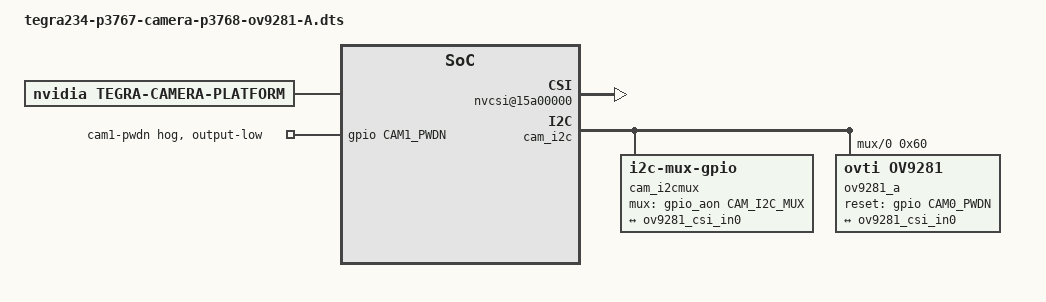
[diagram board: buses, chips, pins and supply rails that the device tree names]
// SPDX-License-Identifier: GPL-2.0
/*
 * CAM0 overlay for OmniVision OV9281 on Jetson Orin Nano devkit
 * (p3767-0000 module + p3768 carrier). Same shape as NVIDIA's
 * tegra234-p3767-camera-p3768-imx219-A.dtbo: one 2-lane sensor on the
 * "A" connector, cam_i2cmux channel 0, tegra-camera-platform module0.
 *
 * On that imx219-A binding the CAM0 socket is CSI port-index 1
 * (tegra_sinterface "serial_b"), not CSI serial_a. serial_a / port-index 0
 * is not wired to a camera connector on Orin Nano. Change BOTH macros
 * together if a decompile of the stock imx219-A.dtbo on this board shows
 * a different pair (some notes call silk-screen CAM0 "CSI-C": serial_c / 2).
 *
 * Argus and the ISP do not process a mono sensor. This prebuilt
 * tegra-camera.ko rejects pixel_phase "y". Every mode is declared as
 * bayer RAW10 with pixel_phase "rggb", which sensor_common turns into
 * bayer_rggb10 / V4L2_PIX_FMT_SRGGB10 / MEDIA_BUS_FMT_SRGGB10_1X10.
 * The CSI payload is still mono. Capture with v4l2-ctl pixelformat RG10
 * and treat the samples as luminance. Do not use nvarguscamerasrc.
 * sensor_common has no bayer_*8 entry, so an 8-bit mode is not listed.
 *
 * discontinuous_clk is "no". The driver leaves 0x4800 bit5 clear and
 * programs a 1456-pixel line (1280 + 176). That is the mainline
 * continuous-clock geometry. Gating the clock on that line makes VI
 * discard every frame with err_data 0x20000 (CAPTURE_CHANNEL_ERROR_FORCE_FE).
 */

/dts-v1/;
/plugin/;

#include <dt-bindings/tegra234-p3767-0000-common.h>

#define OV9281_CAM_PORT_INDEX 1
#define OV9281_CAM_SINTERFACE "serial_b"

/ {
	overlay-name = "Camera OV9281-A";
	jetson-header-name = "Jetson 22pin CSI Connector";
	compatible = JETSON_COMPATIBLE_P3768;

	fragment@0 {
		target-path = "/";
		__overlay__ {
			tegra-capture-vi {
				status = "okay";
				num-channels = <1>;
				ports {
					#address-cells = <1>;
					#size-cells = <0>;
					port@0 {
						reg = <0>;
						ov9281_vi_in0: endpoint {
							port-index = <OV9281_CAM_PORT_INDEX>;
							bus-width = <2>;
							remote-endpoint = <&ov9281_csi_out0>;
						};
					};
				};
			};

			tegra-camera-platform {
				compatible = "nvidia, tegra-camera-platform";
				num_csi_lanes = <2>;
				max_lane_speed = <1500000>;
				min_bits_per_pixel = <8>;
				vi_peak_byte_per_pixel = <2>;
				vi_bw_margin_pct = <25>;
				max_pixel_rate = <240000000>;
				isp_peak_byte_per_pixel = <2>;
				isp_bw_margin_pct = <25>;
				modules {
					module0 {
						badge = "ov9281_cam0";
						position = "front";
						orientation = "0";
						drivernode0 {
							pcl_id = "v4l2_sensor";
							devname = "ov9281 9-0060";
							proc-device-tree = "/proc/device-tree/bus@0/cam_i2cmux/i2c@0/ov9281_a@60";
							sysfs-device-tree = "/sys/firmware/devicetree/base/bus@0/cam_i2cmux/i2c@0/ov9281_a@60";
						};
					};
				};
			};

			bus@0 {
				host1x@13e00000 {
					nvcsi@15a00000 {
						status = "okay";
						num-channels = <1>;
						#address-cells = <1>;
						#size-cells = <0>;
						channel@0 {
							reg = <0>;
							ports {
								#address-cells = <1>;
								#size-cells = <0>;
								port@0 {
									reg = <0>;
									ov9281_csi_in0: endpoint@0 {
										port-index = <OV9281_CAM_PORT_INDEX>;
										bus-width = <2>;
										remote-endpoint = <&ov9281_out0>;
									};
								};
								port@1 {
									reg = <1>;
									ov9281_csi_out0: endpoint@1 {
										remote-endpoint = <&ov9281_vi_in0>;
									};
								};
							};
						};
					};
				};

				cam_i2cmux {
					status = "okay";
					compatible = "i2c-mux-gpio";
					#address-cells = <1>;
					#size-cells = <0>;
					mux-gpios = <&gpio_aon CAM_I2C_MUX GPIO_ACTIVE_HIGH>;
					i2c-parent = <&cam_i2c>;
					i2c@0 {
						status = "okay";
						reg = <0>;
						#address-cells = <1>;
						#size-cells = <0>;
						ov9281_a@60 {
							status = "okay";
							compatible = "ovti,ov9281";
							reg = <0x60>;
							reset-gpios = <&gpio CAM0_PWDN GPIO_ACTIVE_HIGH>;
							/*
							 * Same clock consumer names as the other
							 * tegra234 camera overlays (bpmp EXTPERIPH1,
							 * clock-names extperiph1, mclk extperiph1).
							 * mclk without clocks/clock-names makes
							 * devm_clk_get("extperiph1") return -ENOENT.
							 */
							clocks = <&bpmp TEGRA234_CLK_EXTPERIPH1>,
								<&bpmp TEGRA234_CLK_EXTPERIPH1>;
							clock-names = "extperiph1", "pllp_grtba";
							mclk = "extperiph1";
							devnode = "video0";
							physical_w = "3.840";
							physical_h = "2.400";
							sensor_model = "ov9281";
							use_sensor_mode_id = "true";

							/* mode0: 1280x800 RAW10 @ 60 fps */
							mode0 {
								mclk_khz = "24000";
								num_lanes = "2";
								tegra_sinterface = OV9281_CAM_SINTERFACE;
								phy_mode = "DPHY";
								discontinuous_clk = "no";
								dpcm_enable = "false";
								cil_settletime = "0";
								lane_polarity = "6";
								active_w = "1280";
								active_h = "800";
								mode_type = "bayer";
								pixel_phase = "rggb";
								csi_pixel_bit_depth = "10";
								readout_orientation = "0";
								line_length = "1456";
								inherent_gain = "1";
								mclk_multiplier = "4";
								pix_clk_hz = "160000000";
								gain_factor = "16";
								framerate_factor = "1000000";
								exposure_factor = "1000000";
								min_gain_val = "16";
								max_gain_val = "255";
								step_gain_val = "1";
								default_gain = "16";
								min_hdr_ratio = "1";
								max_hdr_ratio = "1";
								min_framerate = "10000000";
								max_framerate = "120000000";
								step_framerate = "1";
								default_framerate = "60000000";
								min_exp_time = "10";
								max_exp_time = "100000";
								step_exp_time = "1";
								default_exp_time = "5000";
								embedded_metadata_height = "0";
							};

							/* mode1: 1280x720 RAW10 @ 60 fps */
							mode1 {
								mclk_khz = "24000";
								num_lanes = "2";
								tegra_sinterface = OV9281_CAM_SINTERFACE;
								phy_mode = "DPHY";
								discontinuous_clk = "no";
								dpcm_enable = "false";
								cil_settletime = "0";
								lane_polarity = "6";
								active_w = "1280";
								active_h = "720";
								mode_type = "bayer";
								pixel_phase = "rggb";
								csi_pixel_bit_depth = "10";
								readout_orientation = "0";
								line_length = "1456";
								inherent_gain = "1";
								mclk_multiplier = "4";
								pix_clk_hz = "160000000";
								gain_factor = "16";
								framerate_factor = "1000000";
								exposure_factor = "1000000";
								min_gain_val = "16";
								max_gain_val = "255";
								step_gain_val = "1";
								default_gain = "16";
								min_hdr_ratio = "1";
								max_hdr_ratio = "1";
								min_framerate = "10000000";
								max_framerate = "120000000";
								step_framerate = "1";
								default_framerate = "60000000";
								min_exp_time = "10";
								max_exp_time = "100000";
								step_exp_time = "1";
								default_exp_time = "5000";
								embedded_metadata_height = "0";
							};

							ports {
								#address-cells = <1>;
								#size-cells = <0>;
								port@0 {
									reg = <0>;
									ov9281_out0: endpoint {
										port-index = <OV9281_CAM_PORT_INDEX>;
										bus-width = <2>;
										remote-endpoint = <&ov9281_csi_in0>;
									};
								};
							};
						};
					};
				};
			};
		};
	};

	/*
	 * imx219-A hogs CAM0_PWDN and CAM1_PWDN low. CAM0_PWDN is the reset
	 * the driver requests, so it is not hogged here. CAM1 stays low.
	 */
	fragment@1 {
		target = <&gpio>;
		__overlay__ {
			ov9281-cam1-pwdn {
				gpio-hog;
				output-low;
				gpios = <CAM1_PWDN 0>;
				label = "cam1-pwdn";
			};
		};
	};
};
